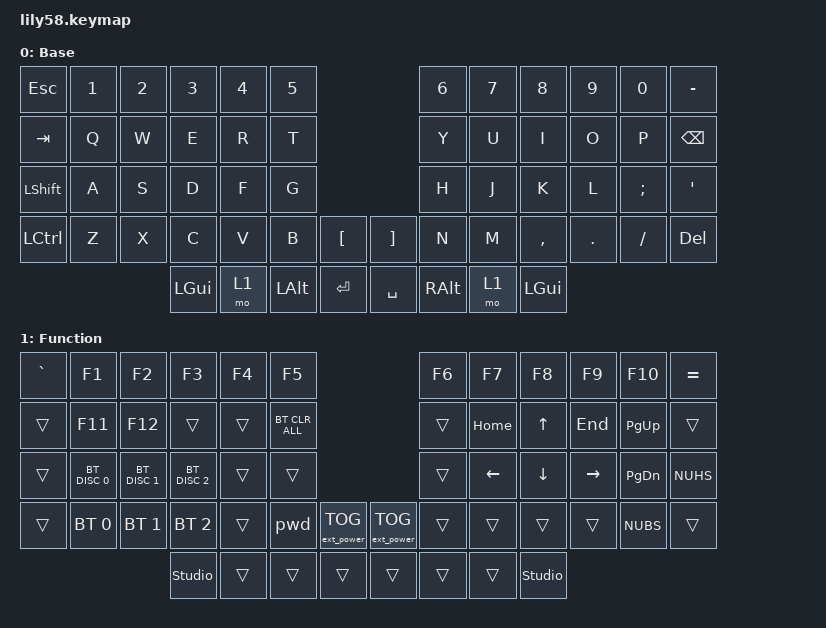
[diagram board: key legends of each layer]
// ZMK Studio compatible keymap for Lily58
#include <behaviors.dtsi>
#include <dt-bindings/zmk/bt.h>
#include <dt-bindings/zmk/keys.h>
#include <dt-bindings/zmk/ext_power.h>  // Add this for display toggle

/ {
    macros {
        pwd: pwd {
            compatible = "zmk,behavior-macro";
            #binding-cells = <0>;
            bindings = <&none &kp EXCL &kp U &kp LS(O) &kp J &kp N8 &kp LS(P) &kp S &kp X &kp S &kp N5 &kp LS(C) &kp O &kp N7 &kp LS(B) &kp LS(K) &kp N6>;
            label = "PWD";
        };
    };

    keymap {
        compatible = "zmk,keymap";

        layer_0 {
            display-name = "Base";
            bindings = <
&kp ESC    &kp N1  &kp N2  &kp N3    &kp N4  &kp N5                            &kp N6    &kp N7  &kp N8     &kp N9   &kp N0    &kp MINUS
&kp TAB    &kp Q   &kp W   &kp E     &kp R   &kp T                             &kp Y     &kp U   &kp I      &kp O    &kp P     &kp BSPC
&kp LSHFT  &kp A   &kp S   &kp D     &kp F   &kp G                             &kp H     &kp J   &kp K      &kp L    &kp SEMI  &kp SQT
&kp LCTRL  &kp Z   &kp X   &kp C     &kp V   &kp B     &kp LBKT     &kp RBKT   &kp N     &kp M   &kp COMMA  &kp DOT  &kp FSLH  &kp DEL
                           &kp LGUI  &mo 1   &kp LALT  &kp ENTER    &kp SPACE  &kp RALT  &mo 1   &kp LGUI
            >;
        };

        layer_1 {
            display-name = "Function";
            bindings = <
&kp GRAVE      &kp F1         &kp F2         &kp F3  &kp F4  &kp F5                                        &kp F6  &kp F7    &kp F8    &kp F9     &kp F10            &kp EQUAL
&trans         &kp F11        &kp F12        &trans  &trans  &bt BT_CLR_ALL                                &trans  &kp HOME  &kp UP    &kp END    &kp PAGE_UP        &trans
&trans  &bt BT_DISC 0  &bt BT_DISC 1  &bt BT_DISC 2  &trans  &trans                                        &trans  &kp LEFT  &kp DOWN  &kp RIGHT  &kp PAGE_DOWN      &kp NUHS
&trans   &bt BT_SEL 0   &bt BT_SEL 1   &bt BT_SEL 2  &trans  &pwd            &ext_power EP_TOG    &ext_power EP_TOG  &trans  &trans    &trans    &trans     &kp NUBS       &trans
                                             &studio_unlock  &trans  &trans          &trans    &trans  &trans  &trans     &studio_unlock
            >;
        };

        // Extra layers for ZMK Studio
        extra1 {
            display-name = "Extra 1";
            status = "reserved";
        };

        extra2 {
            display-name = "Extra 2"; 
            status = "reserved";
        };
    };
};
